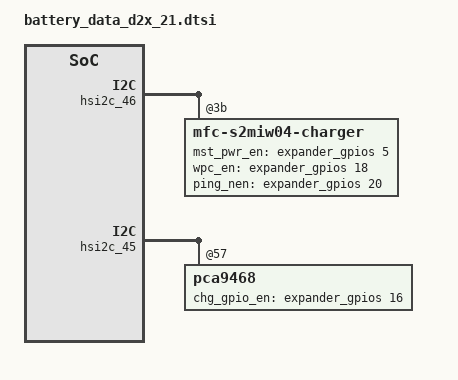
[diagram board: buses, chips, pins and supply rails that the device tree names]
/*
 * SAMSUNG UNIVERSAL9820 board device tree source
 *
 * Copyright (c) 2018 Samsung Electronics Co., Ltd.
 *		http://www.samsung.com
 *
 * This program is free software; you can redistribute it and/or modify
 * it under the terms of the GNU General Public License version 2 as
 * published by the Free Software Foundation.
 */

#include "battery_data_d2x_common.dtsi"
#include "battery_rx_data_lsi.dtsi"

/ {
	fragment@battery {
		target-path = "/";
		__overlay__ {
			battery {
				battery,wpc_en = <&expander_gpios 18 0>;
				battery,mst_pwr_en = <&expander_gpios 5 0>;
			};

			max77705-fuelgauge {
				fuelgauge,fg_resistor = <2>;
				fuelgauge,capacity = <0x0FB3>;
			};
		}; /* end of __overlay__ */
	}; /* end of fragment */
};

&pinctrl_0 {
	 pdet_b: pdet-b {
		 samsung,pins = "gpa2-1";
		 samsung,pin-function = <0xf>;
		 samsung,pin-pud = <0>;
		 samsung,pin-drv = <0>;
	 };
};

&hsi2c_46 {
	mfc-s2miw04-charger@3b {
		battery,mst_pwr_en = <&expander_gpios 5 0>;
		battery,wpc_en = <&expander_gpios 18 0>;
		battery,ping_nen = <&expander_gpios 20 0>;
	};
};

&hsi2c_45 {
	pca9468@57 {
		pca9468,chg_gpio_en = <&expander_gpios 16 0>;
	};
};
